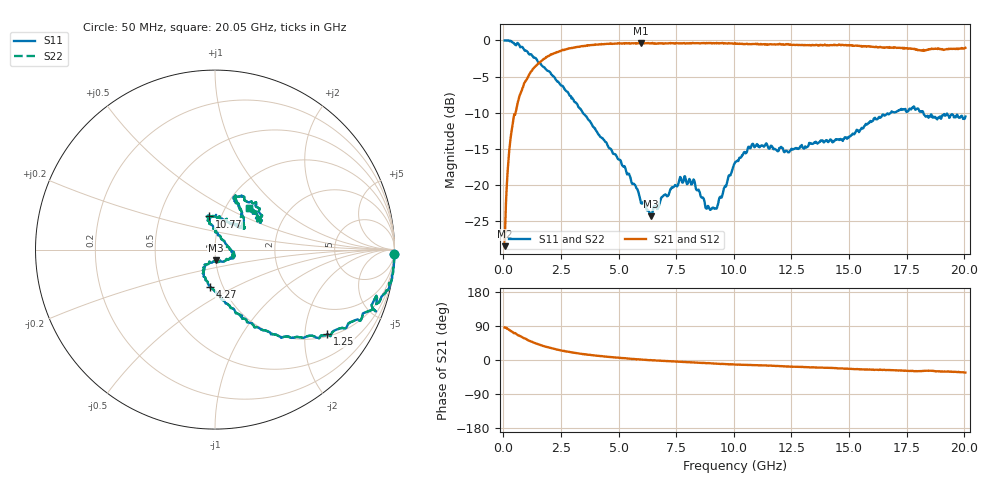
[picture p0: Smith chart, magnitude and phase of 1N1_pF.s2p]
! P/N: 500R07S1R1BV4
! Measured by Marlon
! Oct. 28, 2003
#	mhz	s	ma	r	50
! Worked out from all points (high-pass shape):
!   1001 points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, 50 MHz to 20.05 GHz, reference 50 ohm
!   highest |S21| = -0.33 dB at 5.95 GHz (marker M1); lowest = -28.5 dB at 50 MHz (marker M2)
!   |S21| within 3 dB of the highest: 1.467 GHz to end of sweep
!   lowest |S11| = -24.3 dB at 6.41 GHz (marker M3), VSWR 1.13, Z = 49.9 - j6.08 ohm
!   |S11| at or under -10 dB: 3.443 GHz to 16.82 GHz (13.37 GHz wide, 132 % of centre); 18.22 GHz to end of sweep
!   |S22| runs from -24.3 to 0.0 dB; largest |S21 - S12| = 0
!   S11 on the Smith chart (normalised r, x): 50 MHz: 0, -80; 1.25 GHz: 1.06, -2.61; 4.27 GHz: 0.87, -0.38; 10.77 GHz: 0.88, +0.34; 20.05 GHz: 1.28, +0.65
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50  0.9999 -1.4  0.03762 85.7  0.03762 85.7  0.9999 -1.4
230  0.9999 -9.0  0.1581 80.7  0.1581 80.7  0.9999 -9.0
390  0.9701 -15.1  0.2597 73.8  0.2597 73.8  0.9701 -15.1
790  0.9022 -25.8  0.4484 61.1  0.4484 61.1  0.9022 -25.8
1250  0.7842 -37.0  0.6215 47.9  0.6215 47.9  0.7842 -37.0
2110  0.5762 -55.1  0.8054 30.8  0.8054 30.8  0.5762 -55.1
3390  0.3267 -75.2  0.9109 16.3  0.9109 16.3  0.3267 -75.2
4270  0.2112 -97.3  0.942 10.1  0.942 10.1  0.2112 -97.3
5950  0.07715 -112.2  0.9625 1.4  0.9625 1.4  0.07715 -112.2
6410  0.06069 -87.1  0.9556 -0.6  0.9556 -0.6  0.06069 -87.1
6730  0.0701 -64.1  0.9566 -1.4  0.9566 -1.4  0.0701 -64.1
7790  0.1039 -21.5  0.9571 -5.0  0.9571 -5.0  0.1039 -21.5
9190  0.06845 54.7  0.9577 -9.5  0.9577 -9.5  0.06845 54.7
10050  0.1426 99.7  0.9591 -11.8  0.9591 -11.8  0.1426 99.7
10770  0.1879 100.1  0.9443 -13.2  0.9443 -13.2  0.1879 100.1
12290  0.1722 62.9  0.9392 -17.1  0.9392 -17.1  0.1722 62.9
13390  0.1922 41.2  0.9298 -19.3  0.9298 -19.3  0.1922 41.2
15010  0.216 42.8  0.9237 -23.1  0.9237 -23.1  0.216 42.8
16730  0.3081 70.4  0.8969 -26.5  0.8969 -26.5  0.3081 70.4
17350  0.3345 61.5  0.8777 -28.1  0.8777 -28.1  0.3345 61.5
18190  0.324 35.9  0.8488 -28.8  0.8488 -28.8  0.324 35.9
20050  0.2972 50.8  0.8888 -33.2  0.8888 -33.2  0.2972 50.8
